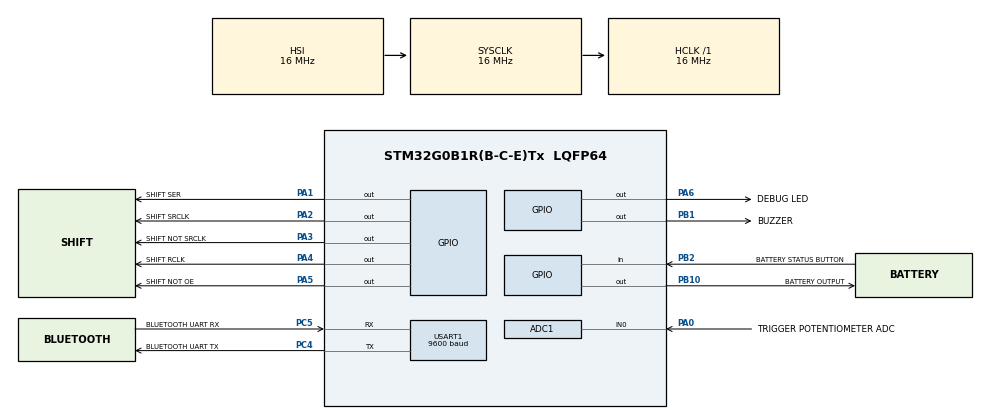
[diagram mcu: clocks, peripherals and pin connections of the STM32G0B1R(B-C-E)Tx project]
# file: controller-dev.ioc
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ADC1.Channel-0\#ChannelRegularConversion=ADC_CHANNEL_0
ADC1.NbrOfConversionFlag=1
ADC1.Rank-0\#ChannelRegularConversion=1
ADC1.SamplingTime-0\#ChannelRegularConversion=ADC_SAMPLINGTIME_COMMON_1
ADC1.SelectedChannel=ADC_CHANNEL_0
ADC1.master=1
Dma.ADC1.0.Direction=DMA_PERIPH_TO_MEMORY
Dma.ADC1.0.EventEnable=DISABLE
Dma.ADC1.0.Instance=DMA1_Channel1
Dma.ADC1.0.MemDataAlignment=DMA_MDATAALIGN_HALFWORD
Dma.ADC1.0.MemInc=DMA_MINC_ENABLE
Dma.ADC1.0.Mode=DMA_CIRCULAR
Dma.ADC1.0.PeriphDataAlignment=DMA_PDATAALIGN_HALFWORD
Dma.ADC1.0.PeriphInc=DMA_PINC_DISABLE
Dma.ADC1.0.Polarity=HAL_DMAMUX_REQ_GEN_RISING
Dma.ADC1.0.Priority=DMA_PRIORITY_LOW
Dma.ADC1.0.RequestNumber=1
Dma.ADC1.0.SignalID=NONE
Dma.ADC1.0.SyncEnable=DISABLE
Dma.ADC1.0.SyncPolarity=HAL_DMAMUX_SYNC_NO_EVENT
Dma.ADC1.0.SyncRequestNumber=1
Dma.ADC1.0.SyncSignalID=NONE
Dma.Request0=ADC1
Mcu.Family=STM32G0
Mcu.Name=STM32G0B1R(B-C-E)Tx
Mcu.Package=LQFP64
Mcu.UserConstants=SLOW_PERIOD,2000;FAST_PERIOD,1000
NVIC.DMA1_Channel1_IRQn=true\:0\:0\:false\:false\:true\:false\:true\:true
NVIC.TIM14_IRQn=true\:0\:0\:false\:false\:true\:true\:true\:true
NVIC.TIM16_FDCAN_IT0_IRQn=true\:0\:0\:false\:false\:true\:true\:true\:true
NVIC.USART1_IRQn=true\:0\:0\:false\:false\:true\:true\:true\:true
PA0.GPIO_Label=TRIGGER POTENTIOMETER ADC
PA0.Mode=IN0
PA0.Signal=ADC1_IN0
PA1.GPIO_Label=SHIFT SER
PA1.Signal=GPIO_Output
PA2.GPIO_Label=SHIFT SRCLK
PA2.Signal=GPIO_Output
PA3.GPIO_Label=SHIFT NOT SRCLK
PA3.Signal=GPIO_Output
PA4.GPIO_Label=SHIFT RCLK
PA4.Signal=GPIO_Output
PA5.GPIO_Label=SHIFT NOT OE
PA5.Signal=GPIO_Output
PA6.GPIO_Label=DEBUG LED
PA6.Signal=GPIO_Output
PB1.GPIO_Label=BUZZER
PB1.Signal=GPIO_Output
PB10.GPIO_Label=BATTERY OUTPUT
PB10.Signal=GPIO_Output
PB2.GPIO_Label=BATTERY STATUS BUTTON
PB2.Signal=GPIO_Input
PC4.GPIO_Label=BLUETOOTH UART TX
PC4.Mode=Asynchronous
PC4.Signal=USART1_TX
PC5.GPIO_Label=BLUETOOTH UART RX
PC5.Mode=Asynchronous
PC5.Signal=USART1_RX
ProjectManager.HeapSize=0x200
ProjectManager.StackSize=0x400
ProjectManager.TargetToolchain=STM32CubeIDE
RCC.AHBFreq_Value=16000000
RCC.CortexFreq_Value=16000000
RCC.EXTERNAL_CLOCK_VALUE=48000
RCC.HCLKFreq_Value=16000000
RCC.HSE_VALUE=8000000
RCC.HSI48_VALUE=48000000
RCC.HSI_VALUE=16000000
RCC.LSE_VALUE=32768
RCC.SYSCLKFreq_VALUE=16000000
RCC.USBFreq_Value=48000000
RCC.VCOOutputFreq_Value=128000000
TIM14.Period=SLOW_PERIOD
TIM14.Prescaler=15
TIM16.Period=FAST_PERIOD
TIM16.Prescaler=15
USART1.BaudRate=9600
USART1.VirtualMode-Asynchronous=VM_ASYNC
VP_TIM14_VS_ClockSourceINT.Mode=Enable_Timer
VP_TIM16_VS_ClockSourceINT.Mode=Enable_Timer
board=custom

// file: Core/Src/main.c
/* USER CODE BEGIN Header */
/**
  ******************************************************************************
  * @file           : main.c
  * @brief          : Main program body
  ******************************************************************************
  * @attention
  *
  * Copyright (c) 2022 STMicroelectronics.
  * All rights reserved.
  *
  * This software is licensed under terms that can be found in the LICENSE file
  * in the root directory of this software component.
  * If no LICENSE file comes with this software, it is provided AS-IS.
  *
  ******************************************************************************
  */
/* USER CODE END Header */
#include "main.h"

/* USER CODE BEGIN Includes */

#include "adc_sensor.h"
#include "display.h"
#include "interrupt_timer.h"
#include "potentiometer.h"
#include "shift_register.h"
#include "trigger.h"
#include "wireless.h"
#include <string.h>
#include <stdbool.h>

/* USER CODE END Includes */

ADC_HandleTypeDef hadc1;
DMA_HandleTypeDef hdma_adc1;

TIM_HandleTypeDef htim14;
TIM_HandleTypeDef htim16;

UART_HandleTypeDef huart1;

/* USER CODE BEGIN PV */

ADCSensor *adc_sensor = NULL;
Display *display = NULL;
Potentiometer *potentiometer = NULL;
ShiftRegister *shift_register = NULL;
Trigger *trigger = NULL;
Wireless *wireless = NULL;
PinData* shift_ser = NULL;
PinData* shift_srclk = NULL;
PinData* shift_not_srclk = NULL;
PinData* shift_rclk = NULL;
PinData* shift_not_oe = NULL;
InterruptTimer* slow_interrupt_timer = NULL;
InterruptTimer* fast_interrupt_timer = NULL;
uint8_t uart_buffer[30];
char last_message[30];
bool send_message_flag = false;

/* USER CODE END PV */

void SystemClock_Config(void);
static void MX_GPIO_Init(void);
static void MX_DMA_Init(void);
static void MX_ADC1_Init(void);
static void MX_USART1_UART_Init(void);
static void MX_TIM14_Init(void);
static void MX_TIM16_Init(void);

/* USER CODE BEGIN 0 */

void HAL_UART_RxCpltCallback(UART_HandleTypeDef *huart) {
	HAL_NVIC_DisableIRQ(USART1_IRQn);
	memcpy(last_message, uart_buffer, sizeof(last_message));
	HAL_NVIC_EnableIRQ(USART1_IRQn);
	HAL_UART_Receive_IT(huart, uart_buffer, 30);
	__HAL_UART_CLEAR_OREFLAG(huart);
	__HAL_UART_CLEAR_NEFLAG(huart);
	HAL_NVIC_ClearPendingIRQ(USART1_IRQn);
	if (last_message[1] == 'S') {
		//Expected $SPEED_DATA,<target>
		char delim[] = ",";
		char *identifier = strtok(last_message, delim);
		if (!strcmp(identifier,"SPEED_DATA")){
			float speed = atof(strtok(NULL,delim));
			update_display_number(display, speed);
		}
	}
}

void HAL_TIM_PeriodElapsedCallback(TIM_HandleTypeDef *htim) {
	if (htim == fast_interrupt_timer->timer) {
		send_message_flag = true;
	}
	if (htim == slow_interrupt_timer->timer) {
		update_adc_sensor_values(adc_sensor);
	}
}

/* USER CODE END 0 */

int main(void)
{
  /* USER CODE BEGIN 1 */

	shift_ser = new_pin_data(SHIFT_SER_GPIO_Port, SHIFT_SER_Pin);
	shift_srclk = new_pin_data(SHIFT_SRCLK_GPIO_Port, SHIFT_SRCLK_Pin);
	shift_not_srclk = new_pin_data(SHIFT_NOT_SRCLK_GPIO_Port, SHIFT_NOT_SRCLK_Pin);
	shift_rclk = new_pin_data(SHIFT_RCLK_GPIO_Port, SHIFT_RCLK_Pin);
	shift_not_oe = new_pin_data(SHIFT_NOT_OE_GPIO_Port, SHIFT_NOT_OE_Pin);
	slow_interrupt_timer = new_interrupt_timer(&htim14);
	fast_interrupt_timer = new_interrupt_timer(&htim16);
	adc_sensor = new_adc_sensor(&hadc1, 1);
	potentiometer = new_potentiometer(adc_sensor, 0);
	shift_register = new_shift_register(
			shift_ser,
			shift_srclk,
			shift_not_srclk,
			shift_rclk,
			shift_not_oe);
	display = new_display(shift_register);
	trigger = new_trigger(potentiometer);
	wireless = new_wireless(&huart1);

  /* USER CODE END 1 */

  /* MCU Configuration--------------------------------------------------------*/

  /* Reset of all peripherals, Initializes the Flash interface and the Systick. */
  HAL_Init();

  /* Configure the system clock */
  SystemClock_Config();

  /* Initialize all configured peripherals */
  MX_GPIO_Init();
  MX_DMA_Init();
  MX_ADC1_Init();
  MX_USART1_UART_Init();
  MX_TIM14_Init();
  MX_TIM16_Init();
  /* USER CODE BEGIN 2 */

  start_interrupt_timer(fast_interrupt_timer);
  start_interrupt_timer(slow_interrupt_timer);
  HAL_UART_Receive_IT(&huart1, uart_buffer, 30);

  /* USER CODE END 2 */

  /* Infinite loop */
  while (1)
  {

    /* USER CODE BEGIN 3 */
	  if (send_message_flag) {
		  float desired_angle = get_trigger_input(trigger);
		  send_wireless_desired_angle(wireless, desired_angle);
		  send_message_flag = false;
	  }
  }
  /* USER CODE END 3 */
}

void SystemClock_Config(void)
{
  RCC_OscInitTypeDef RCC_OscInitStruct = {0};
  RCC_ClkInitTypeDef RCC_ClkInitStruct = {0};

  /** Configure the main internal regulator output voltage
  */
  HAL_PWREx_ControlVoltageScaling(PWR_REGULATOR_VOLTAGE_SCALE1);

  /** Initializes the RCC Oscillators according to the specified parameters
  * in the RCC_OscInitTypeDef structure.
  */
  RCC_OscInitStruct.OscillatorType = RCC_OSCILLATORTYPE_HSI;
  RCC_OscInitStruct.HSIState = RCC_HSI_ON;
  RCC_OscInitStruct.HSIDiv = RCC_HSI_DIV1;
  RCC_OscInitStruct.HSICalibrationValue = RCC_HSICALIBRATION_DEFAULT;
  RCC_OscInitStruct.PLL.PLLState = RCC_PLL_NONE;
  if (HAL_RCC_OscConfig(&RCC_OscInitStruct) != HAL_OK)
  {
    Error_Handler();
  }

  /** Initializes the CPU, AHB and APB buses clocks
  */
  RCC_ClkInitStruct.ClockType = RCC_CLOCKTYPE_HCLK|RCC_CLOCKTYPE_SYSCLK
                              |RCC_CLOCKTYPE_PCLK1;
  RCC_ClkInitStruct.SYSCLKSource = RCC_SYSCLKSOURCE_HSI;
  RCC_ClkInitStruct.AHBCLKDivider = RCC_SYSCLK_DIV1;
  RCC_ClkInitStruct.APB1CLKDivider = RCC_HCLK_DIV1;

  if (HAL_RCC_ClockConfig(&RCC_ClkInitStruct, FLASH_LATENCY_0) != HAL_OK)
  {
    Error_Handler();
  }
}

static void MX_ADC1_Init(void)
{

  ADC_ChannelConfTypeDef sConfig = {0};

  /** Configure the global features of the ADC (Clock, Resolution, Data Alignment and number of conversion)
  */
  hadc1.Instance = ADC1;
  hadc1.Init.ClockPrescaler = ADC_CLOCK_SYNC_PCLK_DIV2;
  hadc1.Init.Resolution = ADC_RESOLUTION_12B;
  hadc1.Init.DataAlign = ADC_DATAALIGN_RIGHT;
  hadc1.Init.ScanConvMode = ADC_SCAN_DISABLE;
  hadc1.Init.EOCSelection = ADC_EOC_SINGLE_CONV;
  hadc1.Init.LowPowerAutoWait = DISABLE;
  hadc1.Init.LowPowerAutoPowerOff = DISABLE;
  hadc1.Init.ContinuousConvMode = DISABLE;
  hadc1.Init.NbrOfConversion = 1;
  hadc1.Init.DiscontinuousConvMode = DISABLE;
  hadc1.Init.ExternalTrigConv = ADC_SOFTWARE_START;
  hadc1.Init.ExternalTrigConvEdge = ADC_EXTERNALTRIGCONVEDGE_NONE;
  hadc1.Init.DMAContinuousRequests = DISABLE;
  hadc1.Init.Overrun = ADC_OVR_DATA_PRESERVED;
  hadc1.Init.SamplingTimeCommon1 = ADC_SAMPLETIME_1CYCLE_5;
  hadc1.Init.SamplingTimeCommon2 = ADC_SAMPLETIME_1CYCLE_5;
  hadc1.Init.OversamplingMode = DISABLE;
  hadc1.Init.TriggerFrequencyMode = ADC_TRIGGER_FREQ_HIGH;
  if (HAL_ADC_Init(&hadc1) != HAL_OK)
  {
    Error_Handler();
  }

  /** Configure Regular Channel
  */
  sConfig.Channel = ADC_CHANNEL_0;
  sConfig.Rank = ADC_REGULAR_RANK_1;
  sConfig.SamplingTime = ADC_SAMPLINGTIME_COMMON_1;
  if (HAL_ADC_ConfigChannel(&hadc1, &sConfig) != HAL_OK)
  {
    Error_Handler();
  }

}

static void MX_TIM14_Init(void)
{

  htim14.Instance = TIM14;
  htim14.Init.Prescaler = 15;
  htim14.Init.CounterMode = TIM_COUNTERMODE_UP;
  htim14.Init.Period = SLOW_PERIOD;
  htim14.Init.ClockDivision = TIM_CLOCKDIVISION_DIV1;
  htim14.Init.AutoReloadPreload = TIM_AUTORELOAD_PRELOAD_DISABLE;
  if (HAL_TIM_Base_Init(&htim14) != HAL_OK)
  {
    Error_Handler();
  }

}

static void MX_TIM16_Init(void)
{

  htim16.Instance = TIM16;
  htim16.Init.Prescaler = 15;
  htim16.Init.CounterMode = TIM_COUNTERMODE_UP;
  htim16.Init.Period = FAST_PERIOD;
  htim16.Init.ClockDivision = TIM_CLOCKDIVISION_DIV1;
  htim16.Init.RepetitionCounter = 0;
  htim16.Init.AutoReloadPreload = TIM_AUTORELOAD_PRELOAD_DISABLE;
  if (HAL_TIM_Base_Init(&htim16) != HAL_OK)
  {
    Error_Handler();
  }

}

static void MX_USART1_UART_Init(void)
{

  huart1.Instance = USART1;
  huart1.Init.BaudRate = 9600;
  huart1.Init.WordLength = UART_WORDLENGTH_8B;
  huart1.Init.StopBits = UART_STOPBITS_1;
  huart1.Init.Parity = UART_PARITY_NONE;
  huart1.Init.Mode = UART_MODE_TX_RX;
  huart1.Init.HwFlowCtl = UART_HWCONTROL_NONE;
  huart1.Init.OverSampling = UART_OVERSAMPLING_16;
  huart1.Init.OneBitSampling = UART_ONE_BIT_SAMPLE_DISABLE;
  huart1.Init.ClockPrescaler = UART_PRESCALER_DIV1;
  huart1.AdvancedInit.AdvFeatureInit = UART_ADVFEATURE_NO_INIT;
  if (HAL_UART_Init(&huart1) != HAL_OK)
  {
    Error_Handler();
  }
  if (HAL_UARTEx_SetTxFifoThreshold(&huart1, UART_TXFIFO_THRESHOLD_1_8) != HAL_OK)
  {
    Error_Handler();
  }
  if (HAL_UARTEx_SetRxFifoThreshold(&huart1, UART_RXFIFO_THRESHOLD_1_8) != HAL_OK)
  {
    Error_Handler();
  }
  if (HAL_UARTEx_DisableFifoMode(&huart1) != HAL_OK)
  {
    Error_Handler();
  }

}

static void MX_DMA_Init(void)
{

  /* DMA controller clock enable */
  __HAL_RCC_DMA1_CLK_ENABLE();

  /* DMA interrupt init */
  /* DMA1_Channel1_IRQn interrupt configuration */
  HAL_NVIC_SetPriority(DMA1_Channel1_IRQn, 0, 0);
  HAL_NVIC_EnableIRQ(DMA1_Channel1_IRQn);

}

static void MX_GPIO_Init(void)
{
  GPIO_InitTypeDef GPIO_InitStruct = {0};

  /* GPIO Ports Clock Enable */
  __HAL_RCC_GPIOA_CLK_ENABLE();
  __HAL_RCC_GPIOC_CLK_ENABLE();
  __HAL_RCC_GPIOB_CLK_ENABLE();

  /*Configure GPIO pin Output Level */
  HAL_GPIO_WritePin(GPIOA, SHIFT_SER_Pin|SHIFT_SRCLK_Pin|SHIFT_NOT_SRCLK_Pin|SHIFT_RCLK_Pin
                          |SHIFT_NOT_OE_Pin|DEBUG_LED_Pin, GPIO_PIN_RESET);

  /*Configure GPIO pin Output Level */
  HAL_GPIO_WritePin(GPIOB, BUZZER_Pin|BATTERY_OUTPUT_Pin, GPIO_PIN_RESET);

  /*Configure GPIO pins : SHIFT_SER_Pin SHIFT_SRCLK_Pin SHIFT_NOT_SRCLK_Pin SHIFT_RCLK_Pin
                           SHIFT_NOT_OE_Pin DEBUG_LED_Pin */
  GPIO_InitStruct.Pin = SHIFT_SER_Pin|SHIFT_SRCLK_Pin|SHIFT_NOT_SRCLK_Pin|SHIFT_RCLK_Pin
                          |SHIFT_NOT_OE_Pin|DEBUG_LED_Pin;
  GPIO_InitStruct.Mode = GPIO_MODE_OUTPUT_PP;
  GPIO_InitStruct.Pull = GPIO_NOPULL;
  GPIO_InitStruct.Speed = GPIO_SPEED_FREQ_LOW;
  HAL_GPIO_Init(GPIOA, &GPIO_InitStruct);

  /*Configure GPIO pins : BUZZER_Pin BATTERY_OUTPUT_Pin */
  GPIO_InitStruct.Pin = BUZZER_Pin|BATTERY_OUTPUT_Pin;
  GPIO_InitStruct.Mode = GPIO_MODE_OUTPUT_PP;
  GPIO_InitStruct.Pull = GPIO_NOPULL;
  GPIO_InitStruct.Speed = GPIO_SPEED_FREQ_LOW;
  HAL_GPIO_Init(GPIOB, &GPIO_InitStruct);

  /*Configure GPIO pin : BATTERY_STATUS_BUTTON_Pin */
  GPIO_InitStruct.Pin = BATTERY_STATUS_BUTTON_Pin;
  GPIO_InitStruct.Mode = GPIO_MODE_INPUT;
  GPIO_InitStruct.Pull = GPIO_NOPULL;
  HAL_GPIO_Init(BATTERY_STATUS_BUTTON_GPIO_Port, &GPIO_InitStruct);

}

void Error_Handler(void)
{
  __disable_irq();
  while (1)
  {
  }
}
